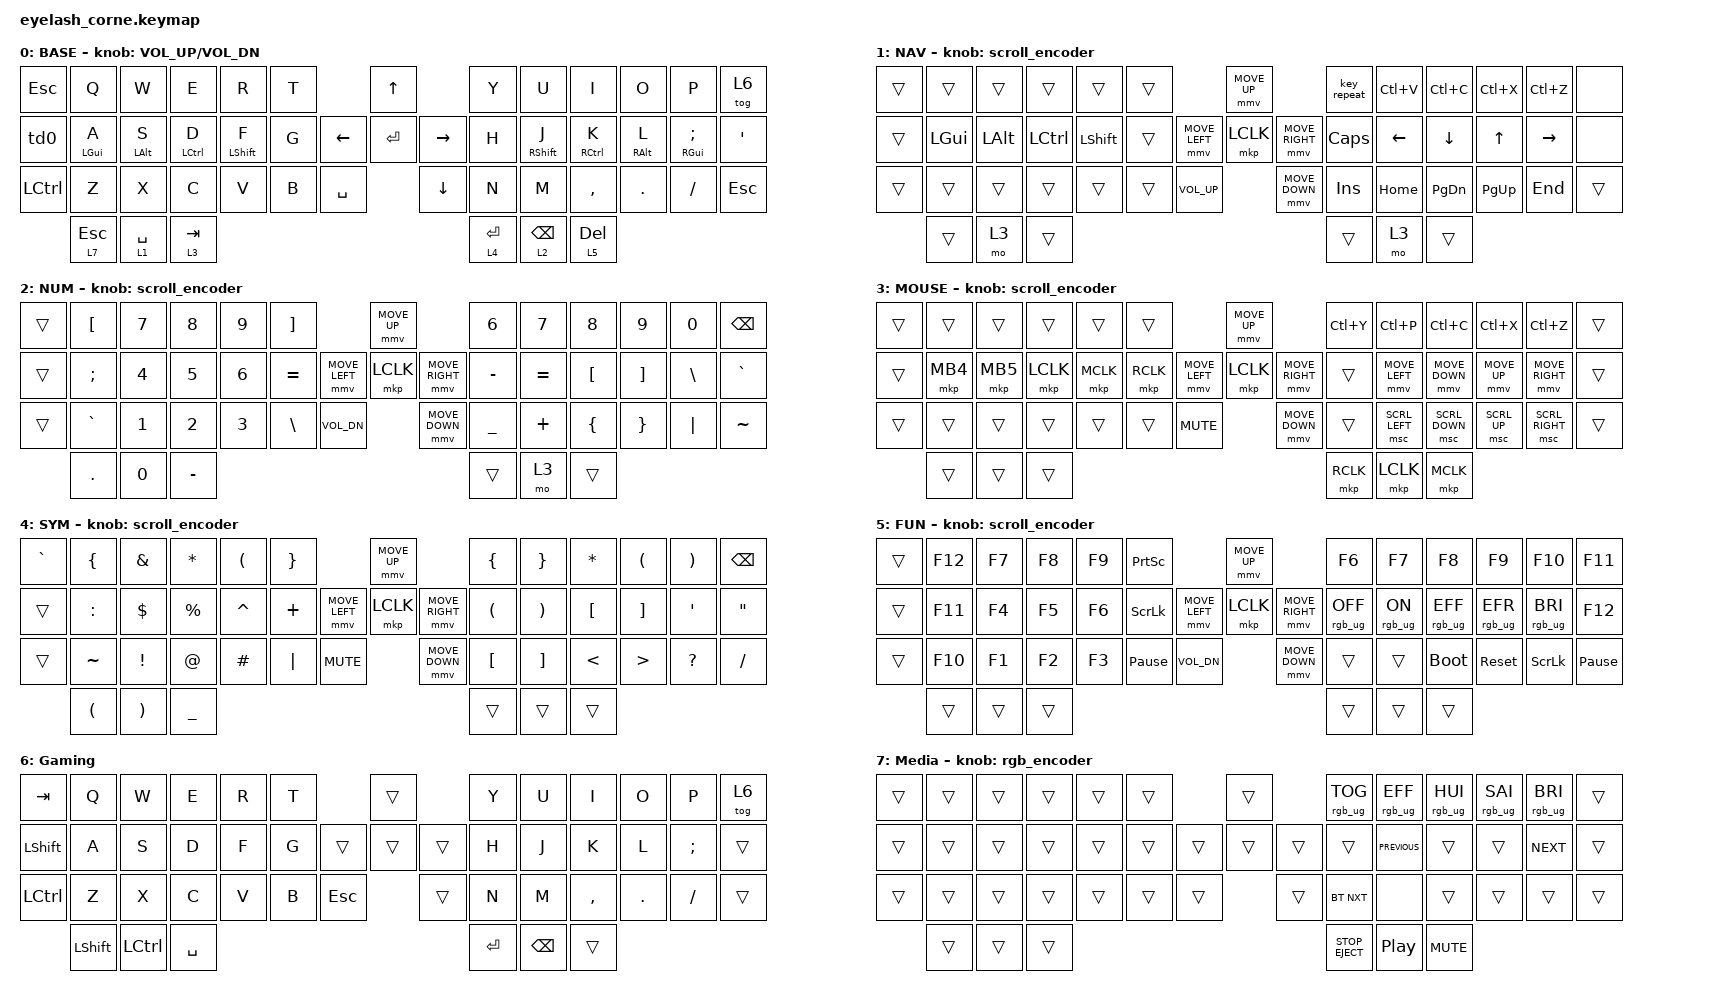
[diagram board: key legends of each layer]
#define ZMK_POINTING_DEFAULT_MOVE_VAL 1200  // 600
#define ZMK_POINTING_DEFAULT_SCRL_VAL 25   // 10

#include <input/processors.dtsi>
#include <zephyr/dt-bindings/input/input-event-codes.h>
#include <behaviors.dtsi>
#include <dt-bindings/zmk/bt.h>
#include <dt-bindings/zmk/keys.h>
#include <dt-bindings/zmk/pointing.h>
#include <dt-bindings/zmk/rgb.h>

&mmv_input_listener { input-processors = <&zip_xy_scaler 2 1>; };

&msc_input_listener { input-processors = <&zip_scroll_scaler 2 1>; };

&msc {
    acceleration-exponent = <1>;      // 0
    time-to-max-speed-ms = <100>;       // 300
    delay-ms = <0>;                   // 0
};

&mmv {
    time-to-max-speed-ms = <500>;
    acceleration-exponent = <1>;
    trigger-period-ms = <16>;
};

&soft_off { hold-time-ms = <2000>; };

/ {
    behaviors {
        td0: td0 {
            compatible = "zmk,behavior-tap-dance";
            display-name = "Shift/Caps Lock Tap Dance";
            #binding-cells = <0>;
            bindings = <&kp LEFT_SHIFT>, <&kp CAPS>;
        };

        hml: homerow_mods_left {
            compatible = "zmk,behavior-hold-tap";
            #binding-cells = <2>;
            flavor = "balanced";
            tapping-term-ms = <280>;
            quick-tap-ms = <175>;
            require-prior-idle-ms = <150>;
            bindings = <&kp>, <&kp>;

            hold-trigger-key-positions = <
                6 7 8 9 10 11 12
                19 20 21 22 23 24 25 26 27
                35 36 37 38 39 40 41
                42 43 44 45 46 47
            >;

            hold-trigger-on-release;
        };

        hmr: homerow_mods_right {
            compatible = "zmk,behavior-hold-tap";
            #binding-cells = <2>;
            flavor = "balanced";
            tapping-term-ms = <280>;
            quick-tap-ms = <175>;
            require-prior-idle-ms = <150>;
            bindings = <&kp>, <&kp>;

            hold-trigger-key-positions = <
                0 1 2 3 4 5
                13 14 15 16 17 18
                28 29 30 31 32 33 34
                42 43 44 45 46 47
            >;

            hold-trigger-on-release;
        };
    };

    rgb_encoder: rgb_encoder {
        compatible = "zmk,behavior-sensor-rotate";
        #sensor-binding-cells = <0>;
        bindings = <&rgb_ug RGB_BRI>, <&rgb_ug RGB_BRD>;
    };

    layer_tap_backspace: layer_tap_backspace {
        compatible = "zmk,behavior-hold-tap";
        #binding-cells = <2>;
        flavor = "balanced";
        tapping-term-ms = <220>;
        quick-tap-ms = <220>;
        bindings = <&mo>, <&kp>;
    };

    scroll_encoder: scroll_encoder {
        compatible = "zmk,behavior-sensor-rotate";
        #sensor-binding-cells = <0>;
        bindings = <&msc SCRL_DOWN>, <&msc SCRL_UP>;

        tap-ms = <100>;
    };

    combos {
        compatible = "zmk,combos";

        softoff {
            bindings = <&soft_off>;
            key-positions = <1 15 29>;
        };
    };

    keymap {
        compatible = "zmk,keymap";

        Qwerty {
            display-name = "BASE";
            bindings = <
&kp ESCAPE  &kp Q        &kp W        &kp E         &kp R         &kp T                             &kp UP                &kp Y        &kp U                             &kp I         &kp O        &kp P           &tog 6
&td0        &hml LGUI A  &hml LALT S  &hml LCTRL D  &hml LSHFT F  &kp G                   &kp LEFT  &kp ENTER  &kp RIGHT  &kp H        &hmr RSHFT J                      &hmr RCTRL K  &hmr RALT L  &hmr RGUI SEMI  &kp SQT
&kp LCTRL   &kp Z        &kp X        &kp C         &kp V         &kp B      &kp SPACE              &kp DOWN              &kp N        &kp M                             &kp COMMA     &kp DOT      &kp FSLH        &kp ESC
                &lt 7 ESCAPE  &layer_tap_backspace 1 SPACE   &lt 3 TAB                                               &lt 4 ENTER  &layer_tap_backspace 2 BACKSPACE  &layer_tap_backspace 5 DEL
            >;

            sensor-bindings = <&inc_dec_kp C_VOLUME_UP C_VOL_DN>;
        };

        Nav {
            display-name = "NAV";
            bindings = <
&trans  &trans    &trans    &trans     &trans     &trans                                  &mmv MOVE_UP                     &key_repeat  &kp LC(V)       &kp LC(C)       &kp LC(X)     &kp LC(Z)        &none
&trans  &kp LGUI  &kp LALT  &kp LCTRL  &kp LSHFT  &trans                  &mmv MOVE_LEFT  &mkp LCLK       &mmv MOVE_RIGHT  &kp CAPS     &kp LEFT_ARROW  &kp DOWN_ARROW  &kp UP_ARROW  &kp RIGHT_ARROW  &none
&trans  &trans    &trans    &trans     &trans     &trans  &kp C_VOL_UP                    &mmv MOVE_DOWN                   &kp INSERT   &kp HOME        &kp PAGE_DOWN   &kp PAGE_UP   &kp END          &trans
                            &trans     &mo 3      &trans                                                                   &trans       &mo 3           &trans
            >;

            sensor-bindings = <&scroll_encoder>;
        };

        Num {
            display-name = "NUM";
            bindings = <
&trans  &kp LEFT_BRACKET  &kp N7        &kp N8        &kp N9        &kp RIGHT_BRACKET                                  &mmv MOVE_UP                     &kp N6     &kp N7     &kp N8    &kp N9    &kp N0    &kp BSPC
&trans  &kp SEMICOLON     &kp NUMBER_4  &kp N5        &kp NUMBER_6  &kp EQUAL                          &mmv MOVE_LEFT  &mkp LCLK       &mmv MOVE_RIGHT  &kp MINUS  &kp EQUAL  &kp LBKT  &kp RBKT  &kp BSLH  &kp GRAVE
&trans  &kp GRAVE         &kp NUMBER_1  &kp NUMBER_2  &kp NUMBER_3  &kp BACKSLASH      &kp C_VOL_DN                    &mmv MOVE_DOWN                   &kp UNDER  &kp PLUS   &kp LBRC  &kp RBRC  &kp PIPE  &kp TILDE
                                        &kp PERIOD    &kp NUMBER_0  &kp MINUS                                                                           &trans     &mo 3      &trans
            >;

            sensor-bindings = <&scroll_encoder>;
        };

        Mouse {
            display-name = "MOUSE";
            bindings = <
&trans  &trans    &trans    &trans     &trans     &trans                                   &mmv MOVE_UP                     &kp LC(Y)  &kp LC(P)       &kp LC(C)       &kp LC(X)     &kp LC(Z)        &trans
&trans  &mkp MB4  &mkp MB5  &mkp LCLK  &mkp MCLK  &mkp RCLK                &mmv MOVE_LEFT  &mkp LCLK       &mmv MOVE_RIGHT  &trans     &mmv MOVE_LEFT  &mmv MOVE_DOWN  &mmv MOVE_UP  &mmv MOVE_RIGHT  &trans
&trans  &trans    &trans    &trans     &trans     &trans     &kp C_MUTE                    &mmv MOVE_DOWN                   &trans     &msc SCRL_LEFT  &msc SCRL_DOWN  &msc SCRL_UP  &msc SCRL_RIGHT  &trans
                            &trans     &trans     &trans                                                                    &mkp RCLK  &mkp LCLK       &mkp MCLK
            >;

            sensor-bindings = <&scroll_encoder>;
        };

        Symbols {
            display-name = "SYM";
            bindings = <
&kp GRAVE  &kp LEFT_BRACE  &kp AMPERSAND  &kp ASTERISK          &kp LEFT_PARENTHESIS   &kp RIGHT_BRACE                                &mmv MOVE_UP                     &kp LEFT_BRACE        &kp RIGHT_BRACE        &kp ASTRK      &kp LPAR          &kp RPAR   &kp BSPC
&trans     &kp COLON       &kp DOLLAR     &kp PERCENT           &kp CARET              &kp PLUS                       &mmv MOVE_LEFT  &mkp LCLK       &mmv MOVE_RIGHT  &kp LEFT_PARENTHESIS  &kp RIGHT_PARENTHESIS  &kp LBKT       &kp RBKT          &kp SQT    &kp DQT
&trans     &kp TILDE       &kp EXCL       &kp AT                &kp POUND              &kp PIPE         &kp C_MUTE                    &mmv MOVE_DOWN                   &kp LEFT_BRACKET      &kp RIGHT_BRACKET      &kp LESS_THAN  &kp GREATER_THAN  &kp QMARK  &kp FSLH
                                          &kp LEFT_PARENTHESIS  &kp RIGHT_PARENTHESIS  &kp UNDER                                                                       &trans                &trans                 &trans
            >;

            sensor-bindings = <&scroll_encoder>;
        };

        Function {
            display-name = "FUN";
            bindings = <
&trans  &kp F12  &kp F7  &kp F8  &kp F9  &kp PRINTSCREEN                                  &mmv MOVE_UP                     &kp F6           &kp F7          &kp F8           &kp F9           &kp F10          &kp F11
&trans  &kp F11  &kp F4  &kp F5  &kp F6  &kp SCROLLLOCK                   &mmv MOVE_LEFT  &mkp LCLK       &mmv MOVE_RIGHT  &rgb_ug RGB_OFF  &rgb_ug RGB_ON  &rgb_ug RGB_EFF  &rgb_ug RGB_EFR  &rgb_ug RGB_BRI  &kp F12
&trans  &kp F10  &kp F1  &kp F2  &kp F3  &kp PAUSE_BREAK  &kp C_VOL_DN                    &mmv MOVE_DOWN                   &trans           &trans          &bootloader      &sys_reset       &kp SLCK         &kp PAUSE_BREAK
                         &trans  &trans  &trans                                                                            &trans           &trans          &trans
            >;

            sensor-bindings = <&scroll_encoder>;
        };

        Gaming {
            bindings = <
&kp TAB    &kp Q  &kp W  &kp E           &kp R      &kp T                            &trans          &kp Y      &kp U          &kp I      &kp O    &kp P     &tog 6
&kp LSHFT  &kp A  &kp S  &kp D           &kp F      &kp G                    &trans  &trans  &trans  &kp H      &kp J          &kp K      &kp L    &kp SEMI  &trans
&kp LCTRL  &kp Z  &kp X  &kp C           &kp V      &kp B      &kp ESCAPE            &trans          &kp N      &kp M          &kp COMMA  &kp DOT  &kp FSLH  &trans
                         &kp LEFT_SHIFT  &kp LCTRL  &kp SPACE                                        &kp ENTER  &kp BACKSPACE  &trans
            >;
        };

        Media {
            bindings = <
&trans  &trans  &trans  &trans  &trans  &trans                    &trans          &rgb_ug RGB_TOG   &rgb_ug RGB_EFF   &rgb_ug RGB_HUI  &rgb_ug RGB_SAI  &rgb_ug RGB_BRI  &trans
&trans  &trans  &trans  &trans  &trans  &trans            &trans  &trans  &trans  &trans            &kp C_PREVIOUS    &trans           &trans           &kp C_NEXT       &trans
&trans  &trans  &trans  &trans  &trans  &trans  &trans            &trans          &bt BT_NXT        &none             &trans           &trans           &trans           &trans
                        &trans  &trans  &trans                                    &kp C_STOP_EJECT  &kp C_PLAY_PAUSE  &kp C_MUTE
            >;

            sensor-bindings = <&rgb_encoder>;
        };
    };
};
